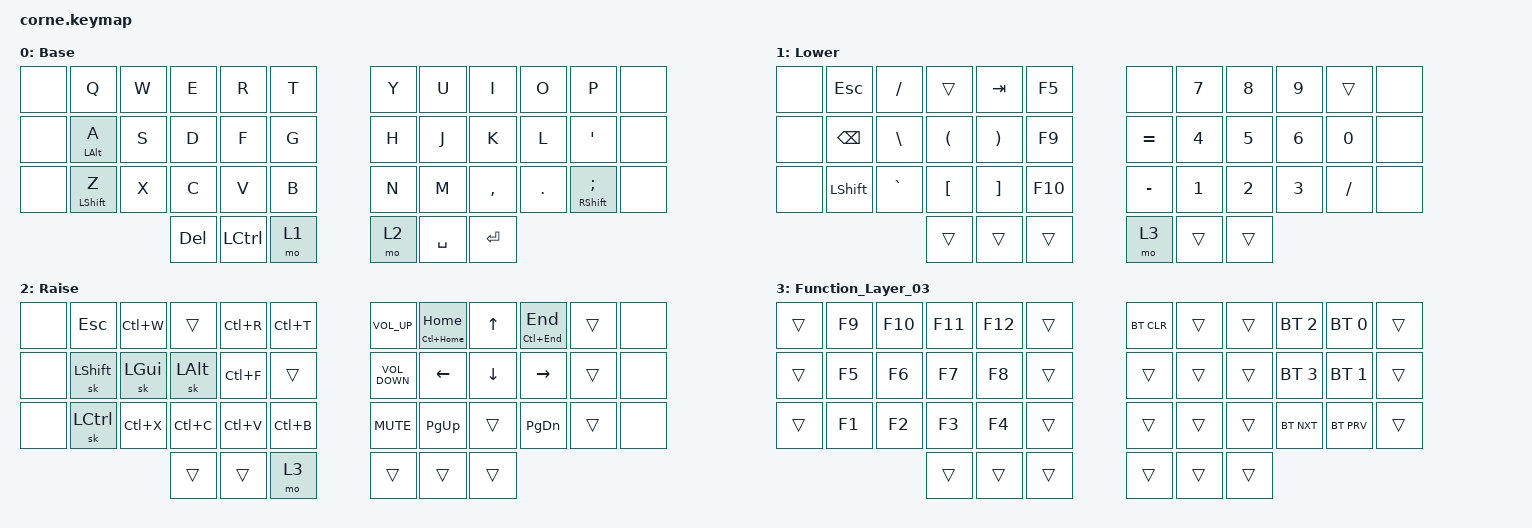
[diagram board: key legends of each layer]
/*
 * Copyright (c) 2020 The ZMK Contributors
 *
 * SPDX-License-Identifier: MIT
 */

#include <behaviors.dtsi>
#include <dt-bindings/zmk/bt.h>
#include <dt-bindings/zmk/keys.h>

/ {
    combos { compatible = "zmk,combos"; };

    behaviors {
        lalt: lalt {
            compatible = "zmk,behavior-hold-tap";
            label = "LALT";
            bindings = <&kp>, <&kp>;

            #binding-cells = <2>;
            flavor = "tap-preferred";
            tapping-term-ms = <200>;
        };
    };

    keymap {
        compatible = "zmk,keymap";

        Default_Layer_00 {
            // -----------------------------------------------------------------------------------------
            // |      |  Q  |  W  |  E  |  R  |  T  |   |  Y  |  U   |  I  |  O  |  P  |      |
            // |      |  A  |  S  |  D  |  F  |  G  |   |  H  |  J   |  K  |  L  |  ;  |      |
            // |      |  Z  |  X  |  C  |  V  |  B  |   |  N  |  M   |  ,  |  .  |  /  |      |
            //                    | GUI | LWR | SPC |   | ENT | RSE  | ALT |

            label = "Base";
            bindings = <
&none  &kp Q             &kp W  &kp E       &kp R      &kp T    &kp Y  &kp U      &kp I      &kp O    &kp P                &none
&none  &lalt LEFT_ALT A  &kp S  &kp D       &kp F      &kp G    &kp H  &kp J      &kp K      &kp L    &kp SINGLE_QUOTE     &none
&none  &mt LSHIFT Z      &kp X  &kp C       &kp V      &kp B    &kp N  &kp M      &kp COMMA  &kp DOT  &mt RSHFT SEMICOLON  &none
                                &kp DELETE  &kp LCTRL  &mo 1    &mo 2  &kp SPACE  &kp ENTER
            >;
        };

        Numpad_Layer_01 {
            // -----------------------------------------------------------------------------------------
            // |      |  1  |  2  |  3  |  4  |  5  |   |  6  |  7  |  8  |  9  |  0  |      |
            // |      | BT1 | BT2 | BT3 | BT4 | BT5 |   | LFT | DWN |  UP | RGT |     |      |
            // |      |     |     |     |     |     |   |     |     |     |     |     |      |
            //                    | GUI |     | SPC |   | ENT |     | ALT |

            label = "Lower";
            bindings = <
&none  &kp ESC        &kp SLASH  &trans                &kp TAB                &kp F5     &none      &kp N7  &kp N8  &kp N9  &trans        &none
&none  &kp BACKSPACE  &kp BSLH   &kp LEFT_PARENTHESIS  &kp RIGHT_PARENTHESIS  &kp F9     &kp EQUAL  &kp N4  &kp N5  &kp N6  &kp NUMBER_0  &none
&none  &kp LSHIFT     &kp GRAVE  &kp LBKT              &kp RBKT               &kp F10    &kp MINUS  &kp N1  &kp N2  &kp N3  &kp FSLH      &none
                                 &trans                &trans                 &trans     &mo 3      &trans  &trans
            >;
        };

        Navigation_Layer_02 {
            // -----------------------------------------------------------------------------------------
            // |      |  !  |  @  |  #  |  $  |  %  |   |  ^  |  &  |  *  |  (  |  )  |      |
            // |      |     |     |     |     |     |   |  -  |  =  |  [  |  ]  |  \  |      |
            // |      |     |     |     |     |     |   |  _  |  +  |  {  |  }  | "|" |      |
            //                    | GUI |     | SPC |   | ENT |     | ALT |

            label = "Raise";
            bindings = <
&none  &kp ESC    &kp LC(W)  &trans     &kp LC(R)  &kp LC(T)    &kp C_VOLUME_UP    &mt LC(HOME) HOME  &kp UP_ARROW  &mt LC(END) END  &trans  &none
&none  &sk LSHFT  &sk LGUI   &sk LALT   &kp LC(F)  &trans       &kp C_VOLUME_DOWN  &kp LEFT           &kp DOWN      &kp RIGHT        &trans  &none
&none  &sk LCTRL  &kp LC(X)  &kp LC(C)  &kp LC(V)  &kp LC(B)    &kp K_MUTE         &kp PG_UP          &trans        &kp PG_DN        &trans  &none
                             &trans     &trans     &mo 3        &trans             &trans             &trans
            >;
        };

        Function_Layer_03 {
            bindings = <
&trans  &kp F9  &kp F10  &kp F11  &kp F12  &trans    &bt BT_CLR  &trans  &trans  &bt BT_SEL 2  &bt BT_SEL 0  &trans
&trans  &kp F5  &kp F6   &kp F7   &kp F8   &trans    &trans      &trans  &trans  &bt BT_SEL 3  &bt BT_SEL 1  &trans
&trans  &kp F1  &kp F2   &kp F3   &kp F4   &trans    &trans      &trans  &trans  &bt BT_NXT    &bt BT_PRV    &trans
                         &trans   &trans   &trans    &trans      &trans  &trans
            >;
        };
    };
};
